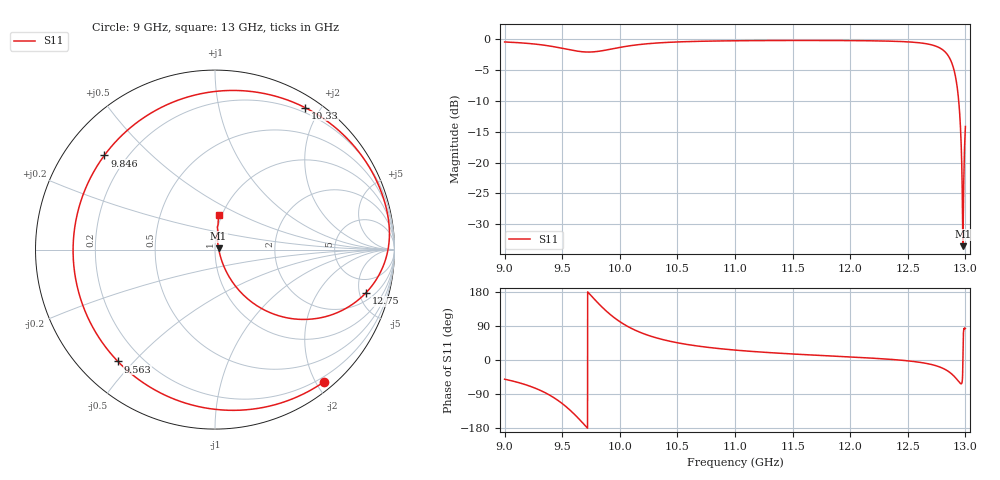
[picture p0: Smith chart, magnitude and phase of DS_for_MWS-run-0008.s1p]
! TOUCHSTONE file generated by CST DESIGN STUDIO
! Date and time: Tue Feb  4 18:43:58 2025
! Project name: C:\Work\MatlabApps\UnitCellOptimizationMatlab\CST\unitcell.cst
! Tree item: Tasks\Sweep1\SPara1\S-Parameters
! Header version: 2024
! Port assignment regex: !\s*Touchstone port\s*([0-9]+)\s*=\s*(CST MWS port|CST DES external port|CST DES block port)\s*(.+)\s* \(\"(.*)\"\)(\s*mode\s*([0-9]+))?.*
! Touchstone port assignment:
! Touchstone port 1 = CST DES external port 1 ("")
# GHz S MA R 50
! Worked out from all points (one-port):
!   4001 points, 9 GHz to 13 GHz, reference 50 ohm
!   lowest |S11| = -33.6 dB at 12.98 GHz (marker M1), VSWR 1.04, Z = 52 + j0.75 ohm
!   |S11| at or under -10 dB: 12.94201 GHz to end of sweep
!   S11 on the Smith chart (normalised r, x): 9 GHz: 0.13, -2.11; 9.563 GHz: 0.12, -0.45; 9.846 GHz: 0.12, +0.36; 10.33 GHz: 0.14, +1.81; 12.75 GHz: 2.82, -5.78; 13 GHz: 0.97, +0.39
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9  0.9546 -50.7
9.134  0.9398 -60.7
9.26  0.9184 -73.7
9.395  0.8839 -93.4
9.5  0.848 -114.9
9.563  0.8252 -130.9
9.641  0.8015 -154.1
9.708  0.7912 -175.9
9.774  0.7938 162.1
9.846  0.8097 139.6
9.921  0.8344 119.1
10  0.862 101.2
10.158  0.9069 75.3
10.326  0.9367 57.7
10.5  0.9548 45.5
11  0.9763 26.2
11.5  0.9816 15.9
12  0.9794 8.0
12.5  0.9563 -2.2
12.754  0.8747 -16.0
12.841  0.7603 -27.8
12.91  0.5212 -45.5
12.941  0.3238 -56.7
12.952  0.2374 -60.6
12.965  0.1264 -62.7
12.979  0.02097 20.1
12.991  0.1143 82.4
13  0.1965 83.2
